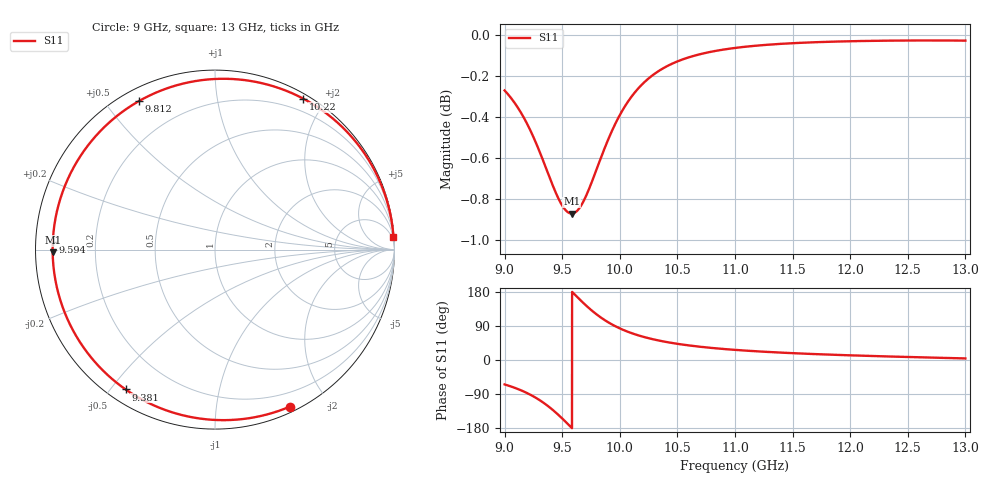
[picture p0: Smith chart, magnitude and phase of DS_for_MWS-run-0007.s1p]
! TOUCHSTONE file generated by CST DESIGN STUDIO
! Date and time: Tue Feb  4 18:20:21 2025
! Project name: C:\Work\MatlabApps\UnitCellOptimizationMatlab\CST\unitcell.cst
! Tree item: Tasks\Sweep1\SPara1\S-Parameters
! Header version: 2024
! Port assignment regex: !\s*Touchstone port\s*([0-9]+)\s*=\s*(CST MWS port|CST DES external port|CST DES block port)\s*(.+)\s* \(\"(.*)\"\)(\s*mode\s*([0-9]+))?.*
! Touchstone port assignment:
! Touchstone port 1 = CST DES external port 1 ("")
# GHz S MA R 50
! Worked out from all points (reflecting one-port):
!   4001 points, 9 GHz to 13 GHz, reference 50 ohm
!   lowest |S11| = -0.9 dB at 9.582 GHz (marker M1), VSWR 19.99, Z = 2.5 - j0.438 ohm
!   phase of S11 starts at -64 deg and turns -291 deg over the sweep
!   S11 on the Smith chart (normalised r, x): 9 GHz: 0.05, -1.58; 9.381 GHz: 0.05, -0.55; 9.594 GHz: 0.05, +0.02; 9.812 GHz: 0.05, +0.61; 10.22 GHz: 0.05, +1.74; 13 GHz: 1, +27
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9  0.9692 -64.5
9.045  0.966 -68.8
9.113  0.9601 -76.3
9.23  0.947 -92.7
9.31  0.9357 -107.1
9.381  0.9247 -122.6
9.44  0.9159 -137.5
9.5  0.9088 -154.3
9.542  0.9057 -166.8
9.582  0.9047 -179.0
9.594  0.9048 177.3
9.65  0.9075 160.3
9.711  0.9142 142.7
9.761  0.9215 129.5
9.812  0.9296 117.3
9.854  0.9362 108.2
9.898  0.9428 99.8
10  0.956 83.4
10.106  0.9662 70.5
10.223  0.9743 59.6
10.351  0.9804 50.6
10.5  0.9851 42.7
10.72  0.9895 34.2
11  0.9926 26.7
11.5  0.9952 18.0
12  0.9963 12.3
12.5  0.9967 7.9
13  0.9966 4.2
